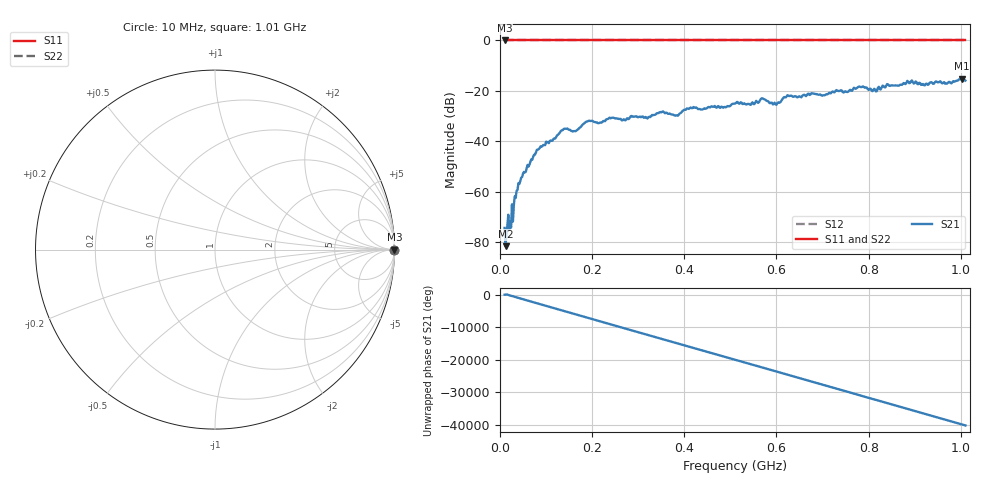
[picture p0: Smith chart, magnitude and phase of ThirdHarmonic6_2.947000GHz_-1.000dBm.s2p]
! 8/17/2025 8:16:39 AM
! C:\ANRITSUVNA\TEMP\TEMP.S2P
! CHANNEL.1
! TR.MEASUREMENT
! RAW.DATA
! RF.CORRECTION.OFF
! AVERAGING.OFF
! IF.BANDWIDTH: 5KHZ
! SWEEPTYPE:  FREQ.SWEEP(Linear)
! Reference Plane Port Info
! PORT:  PORT1  PORT2
! DISTANCE:  0  m  0  m
! TIME:  0  s  0  s
! PHASE.OFFSET:  0  deg.  0  deg.
! LOSS:  0  dB  0  dB
! REF.LOSS:  0  dB  0  dB
! REF.FREQ:  0  Hz  0  Hz
! Power Info
! POWER:  -20  dBm  -20  dBm
! EFF.POWER:  -20  dBm  -20  dBm
! SOURCE.ATTEN:  0  dB  0  dB
! TEST.ATTEN:  0  dB  0  dB
# GHZ S RI R 50.0
! FREQ.GHZ  S11RE  S11IM  S21RE  S21IM  S12RE  S12IM  S22RE  S22IM
!; PortSelection: Port_12
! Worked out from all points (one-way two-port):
!   501 points, 10 MHz to 1.01 GHz, reference 50 ohm
!   highest |S21| = -15.24 dB at 1.002 GHz (marker M1); lowest = -81.7 dB at 12 MHz (marker M2)
!   lowest |S11| = 0.0 dB at 10 MHz (marker M3)
!   |S11| at or under -10 dB: nowhere
!   |S22| runs from 0.0 to 0.0 dB; largest |S21 - S12| = 1.2
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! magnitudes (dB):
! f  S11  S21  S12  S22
! 10 MHz  0.0  -74.4  0.0  0.0
! 12 MHz  0.0  -81.7  0.0  0.0
! 24 MHz  0.0  -74.3  0.0  0.0
! 36 MHz  0.0  -59.7  0.0  0.0
! 44 MHz  0.0  -55.8  0.0  0.0
! 78 MHz  0.0  -44.5  0.0  0.0
! 136 MHz  0.0  -35.7  0.0  0.0
! 162 MHz  0.0  -36.0  0.0  0.0
! 178 MHz  0.0  -33.7  0.0  0.0
! 344 MHz  0.0  -28.9  0.0  0.0
! 382 MHz  0.0  -29.7  0.0  0.0
! 410 MHz  0.0  -27.2  0.0  0.0
! 510 MHz  0.0  -25.0  0.0  0.0
! 570 MHz  0.0  -23.1  0.0  0.0
! 596 MHz  0.0  -24.7  0.0  0.0
! 626 MHz  0.0  -22.0  0.0  0.0
! 678 MHz  0.0  -21.0  0.0  0.0
! 784 MHz  0.0  -18.6  0.0  0.0
! 814 MHz  0.0  -19.5  0.0  0.0
! 844 MHz  0.0  -17.9  0.0  0.0
! 1.002 GHz  0.0  -15.2  0.0  0.0
! 1.01 GHz  0.0  -15.9  0.0  0.0
